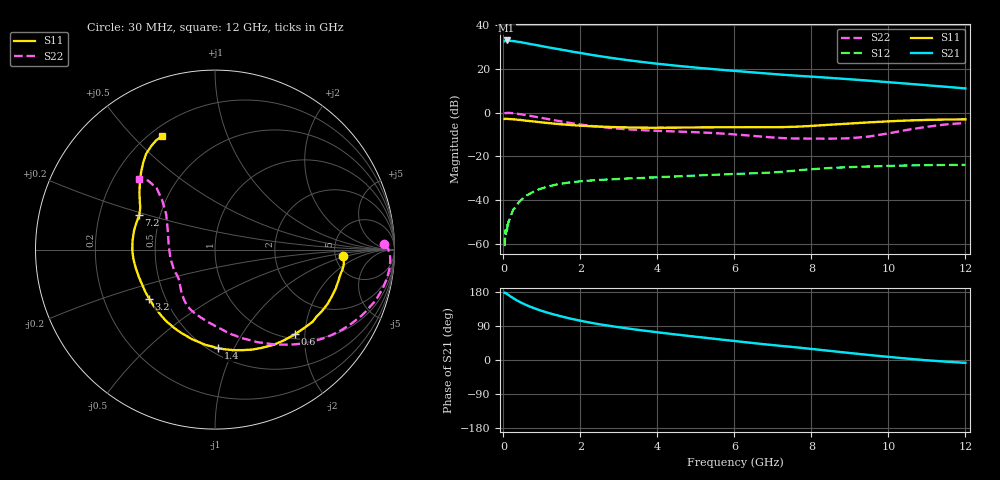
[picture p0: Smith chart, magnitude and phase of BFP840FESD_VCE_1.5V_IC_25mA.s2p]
! Infineon Technologies  Discrete & RF Semiconductors
! BFP840FESD
! VCE =  1.5 V,  IC =  25 mA
! Common Emitter S-Parameters:  May 2012
# GHz  S  MA  R  50
!  f  S11  S21  S12  S22
! GHz  MAG  ANG  MAG  ANG  MAG  ANG  MAG  ANG
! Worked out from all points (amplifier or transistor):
!   103 points, 30 MHz to 12 GHz, reference 50 ohm
!   highest |S21| = 32.8 dB at 80 MHz (marker M1)
!   |S21| within 3 dB of that: start of sweep to 1.119 GHz
!   unconditionally stable (mu >= 1): 5.534 GHz to end of sweep
!   at 400 MHz: K = 0.15, MSG = 36.5 dB, |S12| = -40.9 dB
!   at 3.7 GHz: K = 0.80, MSG = 26.3 dB, |S12| = -29.7 dB
!   at 12 GHz: K = 1.10, MAG = 15.5 dB, |S12| = -23.9 dB
!   S11 on the Smith chart (normalised r, x): 30 MHz: 5.85, -0.83; 600 MHz: 1.10, -1.79; 1.4 GHz: 0.55, -0.87; 3.2 GHz: 0.41, -0.28; 7.2 GHz: 0.38, +0.19; 12 GHz: 0.25, +0.61
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0.03  0.7129 -2.8  42.02 177.1  0.0009 92.0  0.9443 1.8
0.04  0.7148 -3.6  42.42 176.6  0.0013 98.6  0.9551 1.0
0.05  0.7197 -4.5  42.94 177.3  0.0021 85.8  0.9653 0.2
0.08  0.7217 -7.1  43.84 175.1  0.0016 99.9  0.9759 -2.1
0.13  0.7113 -11.8  42.75 171.5  0.0033 84.6  0.9786 -5.6
0.3  0.6966 -25.6  42.12 160.3  0.0068 77.5  0.9497 -15.0
0.35  0.6879 -29.7  41.12 157.2  0.0079 75.9  0.9392 -17.5
0.45  0.6768 -36.3  40.36 151.8  0.01 72.8  0.911 -21.9
0.6  0.6497 -46.5  37.86 144.8  0.0128 68.8  0.8653 -28.4
0.9  0.608 -63.8  33.8 132.9  0.0174 60.8  0.7793 -39.4
1.1  0.5818 -74.3  31.25 126.3  0.0199 56.6  0.7247 -45.9
1.4  0.5504 -88.0  28.07 117.8  0.023 51.4  0.6492 -54.6
1.7  0.5214 -100.6  25.14 110.2  0.0254 47.0  0.5845 -62.8
2.1  0.4961 -114.8  21.95 101.6  0.0275 42.6  0.5187 -72.5
2.6  0.474 -129.3  18.62 92.6  0.0294 39.4  0.461 -82.4
3.2  0.4575 -143.3  15.73 83.6  0.0313 37.4  0.4155 -92.4
4.1  0.4508 -160.1  12.66 71.9  0.0339 36.6  0.3803 -104.1
6.1  0.4616 171.9  8.742 49.0  0.04 36.7  0.3121 -125.7
7.2  0.4648 155.7  7.322 37.3  0.0443 39.3  0.2629 -139.6
8.5  0.528 142.9  6.145 23.8  0.0545 36.1  0.2532 -168.6
10.5  0.6575 125.7  4.533 3.6  0.0621 28.0  0.4034 136.9
12  0.6981 115.1  3.542 -7.4  0.0639 24.8  0.5789 137.2
